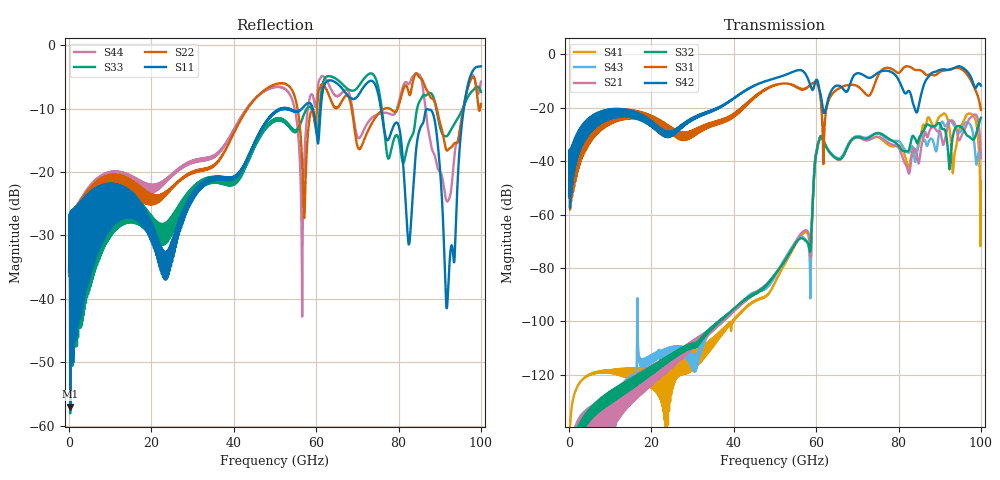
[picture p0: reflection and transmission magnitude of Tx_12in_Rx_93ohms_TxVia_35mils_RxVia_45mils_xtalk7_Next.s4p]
! Info: Touchstone file created by Circ.  Input file=Tx_12in_Rx_93ohms_TxVia_35mils_RxVia_45mils.circ
# Hz S RI R 50
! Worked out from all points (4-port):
!   10000 points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, 10 MHz to 100 GHz, reference 50 ohm
!   strongest paths, dB at 10 MHz, 25.01 GHz, 50.01 GHz, 75.01 GHz, 100 GHz:
!     S42: -52.9, -30.2, -8.9, -6.9, -11.7
!     S31: -53.7, -28.6, -11.6, -8.0, -20.8
!     S32: -180.2, -114.1, -82.3, -29.4, -23.8
!     S21: -175.5, -115.8, -82.4, -30.9, -38.9
!     S43: -175.0, -112.2, -83.0, -29.7, -37.2
!     S41: -162.2, -115.0, -85.3, -31.0, -47.4
!   lowest |S11| = -57.0 dB at 270 MHz (marker M1), VSWR 1.00, Z = 49.9 + j0.00501 ohm
!   |S11| at or under -10 dB: start of sweep to 51.37 GHz; 53.33 GHz to 56.52 GHz (3.189 GHz wide, 5.81 % of centre); 75.74 GHz to 95.85 GHz (20.11 GHz wide, 23.4 % of centre) (the widest 3 of 11)
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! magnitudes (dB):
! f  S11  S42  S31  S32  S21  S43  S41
! 10 MHz  -35.8  -52.9  -53.7  -180.2  -175.5  -175.0  -162.2
! 270 MHz  -57.0  -44.2  -44.2  -156.3  -152.1  -151.8  -138.6
! 50.9 GHz  -10.1  -8.5  -11.1  -80.5  -80.5  -80.6  -82.7
! 60.93 GHz  -11.7  -13.9  -15.1  -30.9  -30.8  -31.2  -31.1
! 73.4 GHz  -5.6  -8.6  -14.4  -30.5  -31.6  -30.4  -31.4
! 91.77 GHz  -41.4  -5.8  -5.9  -32.3  -28.0  -26.1  -23.6
! 100 GHz  -3.3  -11.7  -20.8  -23.8  -38.9  -37.2  -47.4
